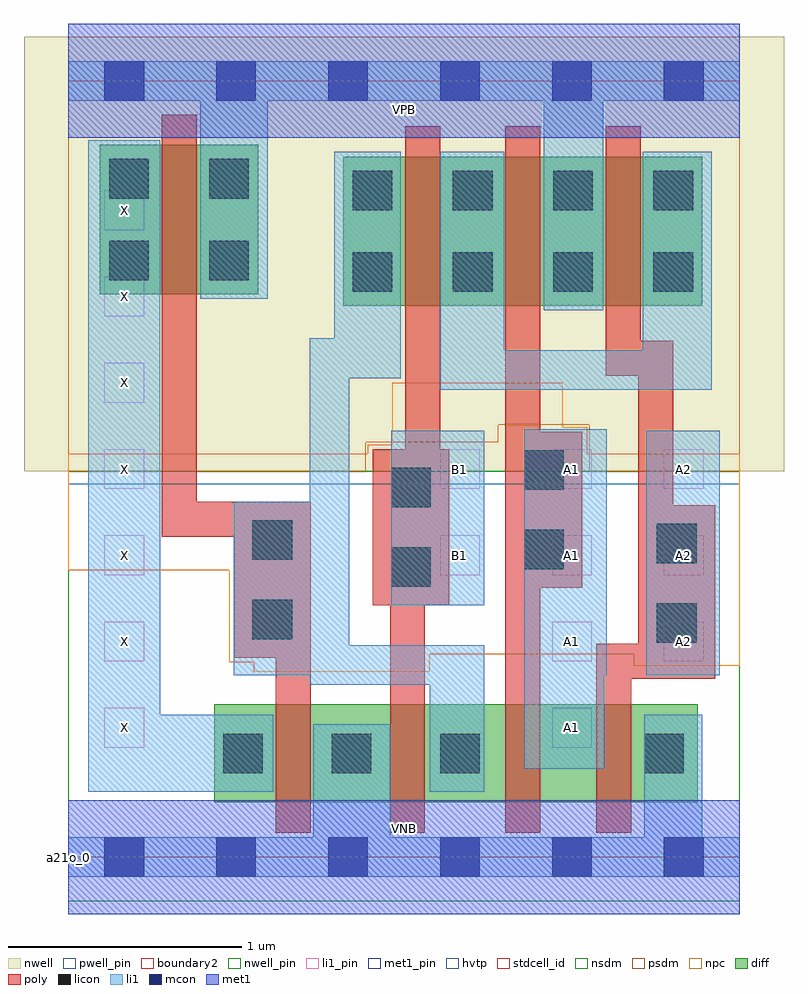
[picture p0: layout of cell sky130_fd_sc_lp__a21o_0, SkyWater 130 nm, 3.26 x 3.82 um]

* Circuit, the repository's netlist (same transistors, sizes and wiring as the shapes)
* Copyright 2020 The SkyWater PDK Authors
*
* Licensed under the Apache License, Version 2.0 (the "License");
* you may not use this file except in compliance with the License.
* You may obtain a copy of the License at
*
*     https://www.apache.org/licenses/LICENSE-2.0
*
* Unless required by applicable law or agreed to in writing, software
* distributed under the License is distributed on an "AS IS" BASIS,
* WITHOUT WARRANTIES OR CONDITIONS OF ANY KIND, either express or implied.
* See the License for the specific language governing permissions and
* limitations under the License.
*
* SPDX-License-Identifier: Apache-2.0

.SUBCKT sky130_fd_sc_lp__a21o_0 A1 A2 B1 VGND VNB VPB VPWR X
*.PININFO A1:I A2:I B1:I VGND:I VNB:I VPB:I VPWR:I X:O
MMPA0 pndA A1 VPWR VPB sky130_fd_pr__pfet_01v8_hvt m=1 w=0.64U l=0.15U mult=1 sa=0.265
+ sb=0.265 sd=0.28 area=0.063 perim=1.14
MMPA1 pndA A2 VPWR VPB sky130_fd_pr__pfet_01v8_hvt m=1 w=0.64U l=0.15U mult=1 sa=0.265
+ sb=0.265 sd=0.28 area=0.063 perim=1.14
MMPB0 y B1 pndA VPB sky130_fd_pr__pfet_01v8_hvt m=1 w=0.64U l=0.15U mult=1 sa=0.265
+ sb=0.265 sd=0.28 area=0.063 perim=1.14
MMIPX X y VPWR VPB sky130_fd_pr__pfet_01v8_hvt m=1 w=0.64U l=0.15U mult=1 sa=0.265
+ sb=0.265 sd=0.28 area=0.063 perim=1.14
MMNA0 y A1 sndA1 VNB sky130_fd_pr__nfet_01v8 m=1 w=0.42U l=0.15U mult=1 sa=0.265
+ sb=0.265 sd=0.28 area=0.063 perim=1.14
MMNA1 sndA1 A2 VGND VNB sky130_fd_pr__nfet_01v8 m=1 w=0.42U l=0.15U mult=1 sa=0.265
+ sb=0.265 sd=0.28 area=0.063 perim=1.14
MMNB0 y B1 VGND VNB sky130_fd_pr__nfet_01v8 m=1 w=0.42U l=0.15U mult=1 sa=0.265
+ sb=0.265 sd=0.28 area=0.063 perim=1.14
MMINX X y VGND VNB sky130_fd_pr__nfet_01v8 m=1 w=0.42U l=0.15U mult=1 sa=0.265
+ sb=0.265 sd=0.28 area=0.063 perim=1.14
.ENDS sky130_fd_sc_lp__a21o_0

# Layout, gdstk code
import gdstk
lib = gdstk.Library(unit=1e-6, precision=1e-09)
def R(c, l, rs):  # rectangles x0, y0, x1, y1
    for r in rs: c.add(gdstk.rectangle(r[:2], r[2:], *l))
def A(c, l, x, y, w, h, nx, ny, dx, dy):  # array of equal rectangles
    R(c, l, [(x+i*dx, y+j*dy, x+i*dx+w, y+j*dy+h) for i in range(nx) for j in range(ny)])
def P(c, l, *ps):  # polygons
    for p in ps: c.add(gdstk.Polygon(p, *l))
nwell_pin = (64, 16)
nwell = (64, 20)
diff = (65, 20)
poly = (66, 20)
licon = (66, 44)
li1_pin = (67, 16)
li1 = (67, 20)
mcon = (67, 44)
met1_pin = (68, 16)
met1 = (68, 20)
hvtp = (78, 44)
stdcell_id = (81, 4)
nsdm = (93, 44)
psdm = (94, 20)
npc = (95, 20)
pwell_pin = (122, 16)
boundary2 = (236, 0)

sky130_fd_sc_lp__a21o_0 = lib.new_cell('sky130_fd_sc_lp__a21o_0')
R(sky130_fd_sc_lp__a21o_0, nwell_pin, [(0,3.085,2.88,3.33)])
R(sky130_fd_sc_lp__a21o_0, nwell, [(-0.19,1.655,3.07,3.52)])
R(sky130_fd_sc_lp__a21o_0, diff, [(0.625,0.235,2.7,0.655), (1.18,2.365,2.72,3.005), (0.135,2.415,0.815,3.055)])
P(sky130_fd_sc_lp__a21o_0, poly, [(1.04,1.525),(0.55,1.525),(0.55,3.185),(0.4,3.185),(0.4,1.375),(0.71,1.375),(0.71,0.855),(0.89,0.855),(0.89,0.105),(1.04,0.105)],
  [(1.635,1.75),(1.595,1.75),(1.595,3.135),(1.445,3.135),(1.445,1.75),(1.305,1.75),(1.305,1.08),(1.38,1.08),(1.38,0.105),(1.53,0.105),(1.53,1.08),(1.635,1.08)],
  [(2.205,1.825),(2.025,1.825),(2.025,3.135),(1.875,3.135),(1.875,0.105),(2.025,0.105),(2.025,1.155),(2.205,1.155)],
  [(2.775,1.51),(2.595,1.51),(2.595,2.215),(2.455,2.215),(2.455,3.135),(2.305,3.135),(2.305,2.065),(2.445,2.065),(2.445,0.915),(2.265,0.915),(2.265,0.105),(2.415,0.105),(2.415,0.765),(2.775,0.765)])
A(sky130_fd_sc_lp__a21o_0, licon, 0.665, 0.36, 0.17, 0.17, 3, 1, 0.465, 0)
A(sky130_fd_sc_lp__a21o_0, licon, 1.22, 2.425, 0.17, 0.17, 4, 2, 0.43, 0.35)
R(sky130_fd_sc_lp__a21o_0, licon, [(2.47,0.36,2.64,0.53), (2.525,0.92,2.695,1.09), (0.79,0.935,0.96,1.105), (1.385,1.16,1.555,1.33), (1.955,1.235,2.125,1.405), (2.525,1.26,2.695,1.43), (0.79,1.275,0.96,1.445), (1.385,1.5,1.555,1.67), (1.955,1.575,2.125,1.745), (0.175,2.475,0.345,2.645), (0.605,2.475,0.775,2.645), (0.175,2.825,0.345,2.995), (0.605,2.825,0.775,2.995)])
A(sky130_fd_sc_lp__a21o_0, li1_pin, 0.155, 0.47, 0.17, 0.17, 1, 7, 0, 0.37)
A(sky130_fd_sc_lp__a21o_0, li1_pin, 1.595, 1.21, 0.17, 0.17, 3, 2, 0.48, 0.37)
R(sky130_fd_sc_lp__a21o_0, li1_pin, [(2.075,0.47,2.245,0.64), (2.075,0.84,2.245,1.01), (2.555,0.84,2.725,1.01)])
R(sky130_fd_sc_lp__a21o_0, li1, [(2.48,0.78,2.795,1.83), (1.385,1.08,1.785,1.83)])
P(sky130_fd_sc_lp__a21o_0, li1, [(0.88,0.61),(0.395,0.61),(0.395,3.075),(0.085,3.075),(0.085,0.28),(0.88,0.28)],
  [(2.88,3.415),(0,3.415),(0,3.245),(0.565,3.245),(0.565,2.395),(0.855,2.395),(0.855,3.245),(2.04,3.245),(2.04,2.345),(2.295,2.345),(2.295,3.245),(2.88,3.245)],
  [(1.785,0.91),(1.205,0.91),(1.205,2.055),(1.425,2.055),(1.425,3.025),(1.14,3.025),(1.14,2.225),(1.035,2.225),(1.035,1.525),(0.71,1.525),(0.71,0.78),(1.035,0.78),(1.035,0.74),(1.55,0.74),(1.55,0.28),(1.785,0.28)],
  [(2.31,1.835),(1.955,1.835),(1.955,0.38),(2.3,0.38),(2.3,0.78),(2.31,0.78)],
  [(2.76,3.025),(2.465,3.025),(2.465,2.175),(1.87,2.175),(1.87,3.025),(1.595,3.025),(1.595,2.005),(2.76,2.005)],
  [(2.88,0.085),(2.72,0.085),(2.72,0.61),(2.47,0.61),(2.47,0.085),(1.38,0.085),(1.38,0.57),(1.05,0.57),(1.05,0.085),(0,0.085),(0,-0.085),(2.88,-0.085)])
A(sky130_fd_sc_lp__a21o_0, mcon, 0.155, -0.085, 0.17, 0.17, 6, 2, 0.48, 3.33)
R(sky130_fd_sc_lp__a21o_0, met1_pin, [(0,0,2.88,0.245), (0,3.085,2.88,3.33)])
R(sky130_fd_sc_lp__a21o_0, met1, [(0,-0.245,2.88,0.245), (0,3.085,2.88,3.575)])
R(sky130_fd_sc_lp__a21o_0, hvtp, [(0,1.6,2.88,3.33)])
R(sky130_fd_sc_lp__a21o_0, stdcell_id, [(0,0,2.88,3.33)])
R(sky130_fd_sc_lp__a21o_0, nsdm, [(0,-0.19,2.88,1.655)])
P(sky130_fd_sc_lp__a21o_0, psdm, [(2.88,3.52),(0,3.52),(0,1.655),(1.275,1.655),(1.275,1.78),(1.845,1.78),(1.845,1.855),(2.235,1.855),(2.235,1.655),(2.88,1.655)])
P(sky130_fd_sc_lp__a21o_0, npc, [(2.88,1.73),(2.225,1.73),(2.225,1.845),(2.12,1.845),(2.12,2.035),(1.39,2.035),(1.39,1.77),(1.285,1.77),(1.285,1.73),(0,1.73),(0,1.23),(0.69,1.23),(0.69,0.835),(0.795,0.835),(0.795,0.795),(1.55,0.795),(1.55,0.87),(2.425,0.87),(2.425,0.82),(2.88,0.82)])
R(sky130_fd_sc_lp__a21o_0, pwell_pin, [(0,0,2.88,0.245)])
R(sky130_fd_sc_lp__a21o_0, boundary2, [(0,0,2.88,3.33)])
sky130_fd_sc_lp__a21o_0.add(gdstk.Label('VNB', (1.44,0.123), layer=64, texttype=59))
sky130_fd_sc_lp__a21o_0.add(gdstk.Label('VPB', (1.44,3.208), layer=64, texttype=5))
sky130_fd_sc_lp__a21o_0.add(gdstk.Label('a21o_0', (0,0), layer=83, texttype=44))
sky130_fd_sc_lp__a21o_0.add(gdstk.Label('VPWR', (1.44,3.208), layer=68, texttype=5))
sky130_fd_sc_lp__a21o_0.add(gdstk.Label('VGND', (1.44,0.123), layer=68, texttype=5))
sky130_fd_sc_lp__a21o_0.add(gdstk.Label('A1', (2.16,0.555), layer=67, texttype=5))
sky130_fd_sc_lp__a21o_0.add(gdstk.Label('A1', (2.16,0.925), layer=67, texttype=5))
sky130_fd_sc_lp__a21o_0.add(gdstk.Label('A1', (2.16,1.295), layer=67, texttype=5))
sky130_fd_sc_lp__a21o_0.add(gdstk.Label('A1', (2.16,1.665), layer=67, texttype=5))
sky130_fd_sc_lp__a21o_0.add(gdstk.Label('A2', (2.64,0.925), layer=67, texttype=5))
sky130_fd_sc_lp__a21o_0.add(gdstk.Label('A2', (2.64,1.295), layer=67, texttype=5))
sky130_fd_sc_lp__a21o_0.add(gdstk.Label('A2', (2.64,1.665), layer=67, texttype=5))
sky130_fd_sc_lp__a21o_0.add(gdstk.Label('B1', (1.68,1.295), layer=67, texttype=5))
sky130_fd_sc_lp__a21o_0.add(gdstk.Label('B1', (1.68,1.665), layer=67, texttype=5))
sky130_fd_sc_lp__a21o_0.add(gdstk.Label('X', (0.24,0.555), layer=67, texttype=5))
sky130_fd_sc_lp__a21o_0.add(gdstk.Label('X', (0.24,0.925), layer=67, texttype=5))
sky130_fd_sc_lp__a21o_0.add(gdstk.Label('X', (0.24,1.295), layer=67, texttype=5))
sky130_fd_sc_lp__a21o_0.add(gdstk.Label('X', (0.24,1.665), layer=67, texttype=5))
sky130_fd_sc_lp__a21o_0.add(gdstk.Label('X', (0.24,2.035), layer=67, texttype=5))
sky130_fd_sc_lp__a21o_0.add(gdstk.Label('X', (0.24,2.405), layer=67, texttype=5))
sky130_fd_sc_lp__a21o_0.add(gdstk.Label('X', (0.24,2.775), layer=67, texttype=5))

lib.write_gds('sky130_fd_sc_lp__a21o_0.gds')
